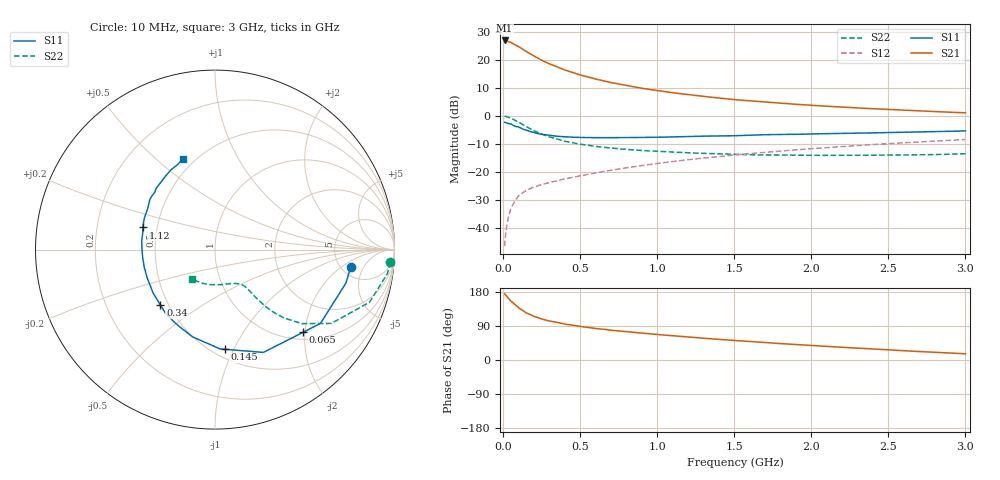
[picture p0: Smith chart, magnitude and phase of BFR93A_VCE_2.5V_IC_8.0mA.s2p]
! Infineon Technologies  Discrete & RF Semiconductors
! BFR93A
! VCE =  2.5 V,  IC =  8.0 mA
! Common Emitter S-Parameters:  Nov 2015
# GHz  S  MA  R  50
!  f  S11  S21  S12  S22
! GHz  MAG  ANG  MAG  ANG  MAG  ANG  MAG  ANG
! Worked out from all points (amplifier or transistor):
!   180 points, 10 MHz to 3 GHz, reference 50 ohm
!   highest |S21| = 26.8 dB at 10 MHz (marker M1)
!   |S21| within 3 dB of that: start of sweep to 123.4 MHz
!   unconditionally stable (mu >= 1): 613.6 MHz to 2.935 GHz
!   at 160 MHz: K = 0.45, MSG = 24.5 dB, |S12| = -26.4 dB
!   at 1.22 GHz: K = 1.11, MAG = 9.5 dB, |S12| = -15.6 dB
!   at 3 GHz: K = 0.99, MSG = 4.8 dB, |S12| = -8.5 dB
!   S11 on the Smith chart (normalised r, x): 10 MHz: 6.09, -2.82; 65 MHz: 1.16, -1.96; 145 MHz: 0.57, -0.92; 340 MHz: 0.45, -0.34; 1.12 GHz: 0.42, +0.12; 3 GHz: 0.43, +0.61
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0.01  0.7627 -7.3  21.98 174.7  0.0047 86.0  0.9799 -4.1
0.02  0.7528 -14.4  21.74 169.7  0.0093 82.2  0.9696 -8.0
0.05  0.7172 -35.0  20.37 155.7  0.0217 73.8  0.9092 -18.9
0.065  0.6735 -43.1  19.21 150.9  0.0262 68.9  0.862 -22.5
0.1  0.6332 -64.8  17.14 137.5  0.037 62.2  0.7675 -32.4
0.145  0.5579 -84.5  14.27 125.9  0.0454 56.4  0.6488 -39.5
0.15  0.5542 -87.0  13.99 124.3  0.0464 55.9  0.6363 -40.4
0.2  0.502 -104.4  11.59 115.1  0.0534 53.6  0.5401 -44.8
0.24  0.472 -115.1  10.12 109.7  0.0579 52.6  0.4834 -46.7
0.26  0.4622 -119.9  9.497 107.2  0.06 52.5  0.4591 -47.5
0.3  0.448 -128.3  8.423 102.9  0.0641 52.7  0.4185 -48.5
0.34  0.433 -134.7  7.647 100.1  0.0682 53.3  0.3912 -48.9
0.4  0.4213 -144.9  6.526 94.7  0.0743 54.0  0.3503 -49.6
0.52  0.4079 -159.2  5.168 87.6  0.0866 55.7  0.3047 -49.9
0.7  0.4055 -174.2  3.9 78.7  0.1063 57.7  0.2646 -51.0
0.86  0.4089 175.9  3.227 72.6  0.1242 58.5  0.2434 -53.0
1.02  0.4129 167.5  2.751 66.7  0.1427 58.6  0.23 -55.6
1.12  0.4198 162.9  2.531 63.4  0.1545 58.4  0.223 -58.1
1.52  0.4404 148.0  1.916 51.0  0.2011 56.6  0.2039 -69.2
2.02  0.4741 133.2  1.521 37.9  0.26 52.7  0.1965 -86.4
2.52  0.5016 120.8  1.28 26.4  0.3194 47.4  0.1985 -106.2
3  0.5352 109.4  1.126 16.4  0.3758 41.7  0.2098 -128.2
